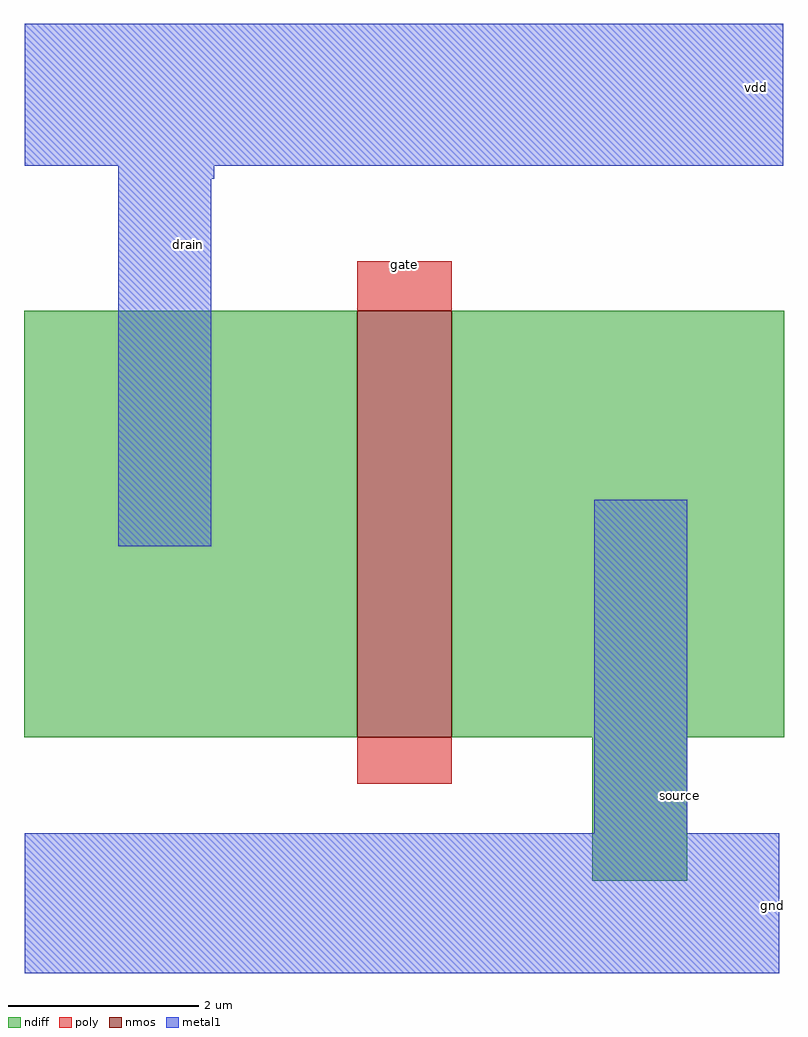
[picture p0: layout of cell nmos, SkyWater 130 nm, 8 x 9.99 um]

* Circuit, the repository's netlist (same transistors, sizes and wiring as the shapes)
* SPICE3 file created from nmos.ext - technology: sky130A

X0 a_400_n100# gate a_n500_n100# VSUBS sky130_fd_pr__nfet_01v8 ad=17.225 pd=19 as=15.7599 ps=16 w=4.49 l=0.99

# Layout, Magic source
magic
tech sky130A
<< nmos >>
rect 101 -50 200 399
<< ndiff >>
rect -250 -50 101 399
rect 200 -50 550 399
rect 348 -201 448 -50
<< poly >>
rect 101 399 200 451
rect 101 -99 200 -50
<< metal1 >>
rect -249 552 549 701
rect -151 538 -50 552
rect -151 151 -53 538
rect 350 -151 448 200
rect -249 -298 545 -151
<< labels >>
rlabel metal1 538 -227 538 -227 1 gnd
rlabel metal1 440 -111 440 -111 1 source
rlabel poly 151 448 151 448 1 gate
rlabel metal1 -77 469 -77 469 1 drain
rlabel metal1 521 634 521 634 1 vdd
<< end >>
